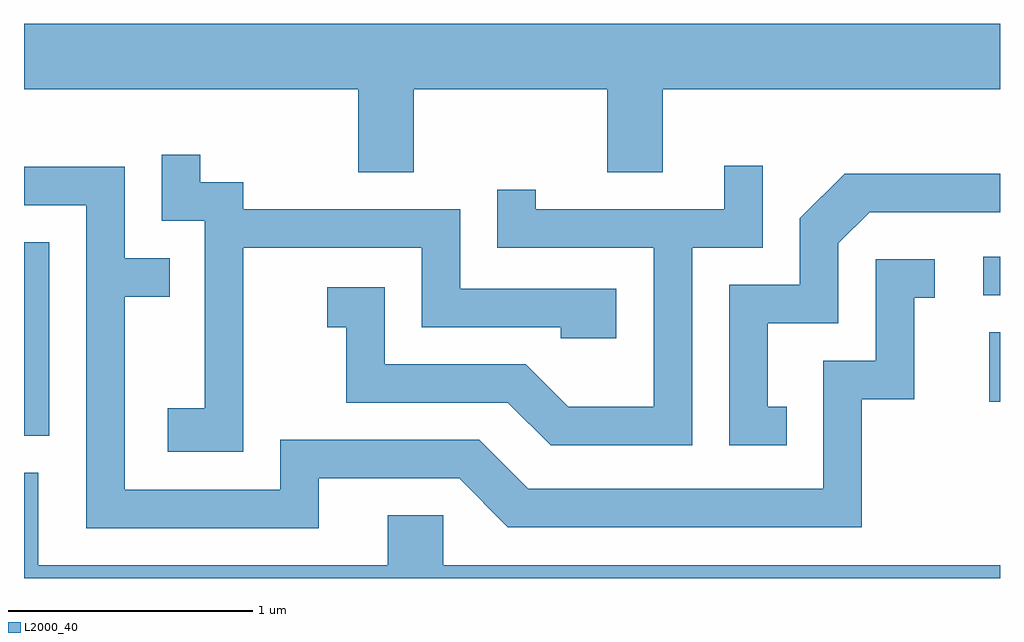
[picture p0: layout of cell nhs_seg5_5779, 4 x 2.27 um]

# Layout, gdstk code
import gdstk
lib = gdstk.Library(unit=1e-6, precision=1e-09)
def R(c, l, rs):  # rectangles x0, y0, x1, y1
    for r in rs: c.add(gdstk.rectangle(r[:2], r[2:], *l))
def P(c, l, *ps):  # polygons
    for p in ps: c.add(gdstk.Polygon(p, *l))
L2000_40 = (2000, 40)

nhs_seg5_5779 = lib.new_cell('nhs_seg5_5779')
R(nhs_seg5_5779, L2000_40, [(355.611,1508.656,355.714,1509.449), (359.566,1508.796,359.611,1509.079), (359.543,1509.231,359.611,1509.389)])
P(nhs_seg5_5779, L2000_40, [(357.209,1510.076),(358.001,1510.076),(358.001,1509.736),(358.229,1509.736),(358.229,1510.076),(359.611,1510.076),(359.611,1510.344),(355.611,1510.344),(355.611,1510.076),(356.981,1510.076),(356.981,1509.736),(357.209,1509.736)],
  [(356.509,1509.426),(357.241,1509.426),(357.241,1509.101),(357.811,1509.101),(357.811,1509.056),(358.039,1509.056),(358.039,1509.259),(357.399,1509.259),(357.399,1509.584),(356.509,1509.584),(356.509,1509.694),(356.334,1509.694),(356.334,1509.808),(356.176,1509.808),(356.176,1509.536),(356.351,1509.536),(356.351,1508.769),(356.201,1508.769),(356.201,1508.591),(356.509,1508.591)],
  [(358.349,1509.426),(358.639,1509.426),(358.639,1509.763),(358.481,1509.763),(358.481,1509.584),(357.709,1509.584),(357.709,1509.663),(357.551,1509.663),(357.551,1509.426),(358.191,1509.426),(358.191,1508.774),(357.842,1508.774),(357.667,1508.949),(357.089,1508.949),(357.089,1509.264),(356.853,1509.264),(356.853,1509.101),(356.931,1509.101),(356.931,1508.791),(357.594,1508.791),(357.769,1508.616),(358.349,1508.616)],
  [(356.819,1508.481),(357.394,1508.481),(357.594,1508.281),(359.044,1508.281),(359.044,1508.806),(359.259,1508.806),(359.259,1509.221),(359.343,1509.221),(359.343,1509.379),(359.101,1509.379),(359.101,1508.964),(358.886,1508.964),(358.886,1508.439),(357.677,1508.439),(357.477,1508.639),(356.661,1508.639),(356.661,1508.434),(356.024,1508.434),(356.024,1509.226),(356.208,1509.226),(356.208,1509.384),(356.024,1509.384),(356.024,1509.759),(355.611,1509.759),(355.611,1509.601),(355.866,1509.601),(355.866,1508.276),(356.819,1508.276)],
  [(358.738,1508.774),(358.659,1508.774),(358.659,1509.116),(358.949,1509.116),(358.949,1509.444),(359.077,1509.571),(359.611,1509.571),(359.611,1509.729),(358.974,1509.729),(358.791,1509.547),(358.791,1509.274),(358.501,1509.274),(358.501,1508.616),(358.738,1508.616)],
  [(359.611,1508.124),(357.329,1508.124),(357.329,1508.329),(357.101,1508.329),(357.101,1508.124),(355.669,1508.124),(355.669,1508.504),(355.611,1508.504),(355.611,1508.072),(359.611,1508.072)])

lib.write_gds('nhs_seg5_5779.gds')
